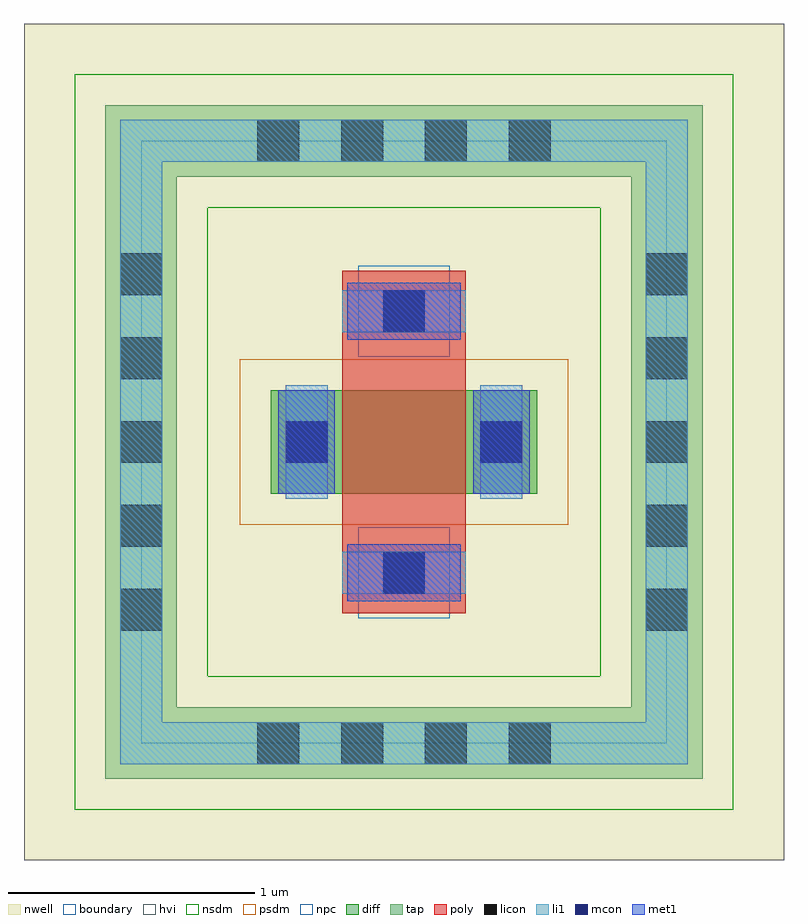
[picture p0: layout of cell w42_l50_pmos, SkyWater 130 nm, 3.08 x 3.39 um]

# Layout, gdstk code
import gdstk
lib = gdstk.Library(unit=1e-6, precision=1e-09)
def R(c, l, rs):  # rectangles x0, y0, x1, y1
    for r in rs: c.add(gdstk.rectangle(r[:2], r[2:], *l))
def A(c, l, x, y, w, h, nx, ny, dx, dy):  # array of equal rectangles
    R(c, l, [(x+i*dx, y+j*dy, x+i*dx+w, y+j*dy+h) for i in range(nx) for j in range(ny)])
nwell = (64, 20)
diff = (65, 20)
tap = (65, 44)
poly = (66, 20)
licon = (66, 44)
li1 = (67, 20)
mcon = (67, 44)
met1 = (68, 20)
hvi = (75, 20)
nsdm = (93, 44)
psdm = (94, 20)
npc = (95, 20)
boundary = (235, 4)

sky130_fd_pr__pfet_g5v0d = lib.new_cell('sky130_fd_pr__pfet_g5v0d10v5')

w42_l50_pmos = lib.new_cell('w42_l50_pmos')
R(w42_l50_pmos, nwell, [(-1.54,-1.695,1.54,1.695)])
R(w42_l50_pmos, diff, [(-0.54,-0.21,0.54,0.21)])
R(w42_l50_pmos, tap, [(-1.21,-1.365,1.21,-1.075), (-1.21,-1.075,-0.92,1.075), (0.92,-1.075,1.21,1.075), (-1.21,1.075,1.21,1.365)])
R(w42_l50_pmos, poly, [(-0.25,-0.695,0.25,0.695)])
A(w42_l50_pmos, licon, -0.595, -1.305, 0.17, 0.17, 4, 2, 0.34, 2.44)
A(w42_l50_pmos, licon, -1.15, -0.765, 0.17, 0.17, 1, 5, 0, 0.34)
A(w42_l50_pmos, licon, 0.98, -0.765, 0.17, 0.17, 1, 5, 0, 0.34)
R(w42_l50_pmos, licon, [(-0.085,-0.615,0.085,-0.445), (-0.48,-0.085,-0.31,0.085), (0.31,-0.085,0.48,0.085), (-0.085,0.445,0.085,0.615)])
R(w42_l50_pmos, li1, [(-1.15,-1.305,1.15,-1.135), (-1.15,-1.135,-0.98,1.135), (0.98,-1.135,1.15,1.135), (-0.25,-0.615,0.25,-0.445), (-0.48,-0.23,-0.31,0.23), (0.31,-0.23,0.48,0.23), (-0.25,0.445,0.25,0.615), (-1.15,1.135,1.15,1.305)])
R(w42_l50_pmos, mcon, [(-0.085,-0.615,0.085,-0.445), (-0.48,-0.085,-0.31,0.085), (0.31,-0.085,0.48,0.085), (-0.085,0.445,0.085,0.615)])
R(w42_l50_pmos, met1, [(-0.23,-0.645,0.23,-0.415), (-0.51,-0.21,-0.28,0.21), (0.28,-0.21,0.51,0.21), (-0.23,0.415,0.23,0.645)])
R(w42_l50_pmos, hvi, [(-1.54,-1.695,1.54,1.695)])
R(w42_l50_pmos, nsdm, [(-1.335,-1.49,1.335,-0.95), (-1.335,-0.95,-0.795,0.95), (0.795,-0.95,1.335,0.95), (-1.335,0.95,1.335,1.49)])
R(w42_l50_pmos, psdm, [(-0.665,-0.335,0.665,0.335)])
R(w42_l50_pmos, npc, [(-0.185,-0.715,0.185,-0.345), (-0.185,0.345,0.185,0.715)])
R(w42_l50_pmos, boundary, [(-1.065,-1.22,1.065,1.22)])
w42_l50_pmos.add(gdstk.Reference(sky130_fd_pr__pfet_g5v0d, (0,0)))

lib.write_gds('w42_l50_pmos.gds')
